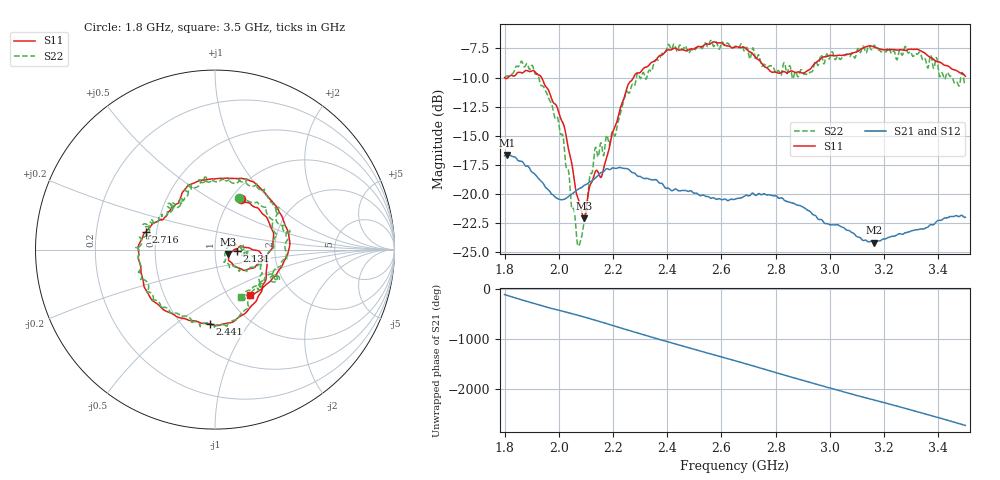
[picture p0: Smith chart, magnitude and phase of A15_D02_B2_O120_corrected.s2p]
! Created with skrf 1.9.0 (http://scikit-rf.org).
# Hz S RI R 50.0
!freq ReS11 ImS11 ReS21 ImS21 ReS12 ImS12 ReS22 ImS22
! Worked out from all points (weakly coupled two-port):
!   1601 points, 1.8 GHz to 3.5 GHz, reference 50 ohm
!   highest |S21| = -16.68 dB at 1.81 GHz (marker M1); lowest = -24.2 dB at 3.163 GHz (marker M2)
!   lowest |S11| = -22.1 dB at 2.092 GHz (marker M3), VSWR 1.17, Z = 58 - j2.82 ohm
!   |S11| at or under -10 dB: start of sweep to 1.813 GHz; 1.936 GHz to 2.275 GHz (339.1 MHz wide, 16.1 % of centre)
!   |S22| runs from -24.5 to -6.8 dB; largest |S21 - S12| = 0.0025
!   S11 on the Smith chart (normalised r, x): 1.8 GHz: 1.12, +0.69; 2.131 GHz: 1.28, -0.01; 2.441 GHz: 0.67, -0.68; 2.716 GHz: 0.44, +0.10; 3.5 GHz: 1.26, -0.71
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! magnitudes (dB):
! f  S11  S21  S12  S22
! 1.8 GHz  -10.0  -16.7  -16.7  -10.0
! 1.81 GHz  -10.1  -16.7  -16.7  -9.9
! 1.864 GHz  -9.6  -17.2  -17.3  -8.6
! 1.952 GHz  -10.8  -19.5  -19.4  -11.2
! 2.019 GHz  -14.1  -20.5  -20.5  -15.7
! 2.069 GHz  -20.3  -19.7  -19.7  -24.4
! 2.084 GHz  -21.5  -19.5  -19.4  -23.7
! 2.092 GHz  -22.1  -19.3  -19.4  -22.5
! 2.131 GHz  -18.3  -18.7  -18.7  -16.5
! 2.16 GHz  -18.4  -18.2  -18.1  -16.2
! 2.209 GHz  -14.1  -17.8  -17.8  -14.9
! 2.259 GHz  -10.5  -17.9  -17.9  -11.4
! 2.367 GHz  -8.2  -19.0  -19.0  -8.5
! 2.441 GHz  -7.6  -19.8  -19.8  -7.5
! 2.65 GHz  -7.4  -20.5  -20.5  -7.3
! 2.716 GHz  -8.0  -20.0  -20.0  -7.4
! 2.788 GHz  -9.5  -20.2  -20.2  -9.0
! 2.934 GHz  -9.1  -21.7  -21.7  -9.5
! 3.163 GHz  -7.4  -24.2  -24.2  -7.2
! 3.217 GHz  -7.6  -23.8  -23.7  -7.4
! 3.326 GHz  -7.6  -23.1  -23.1  -7.9
! 3.5 GHz  -9.9  -22.0  -22.0  -10.4
